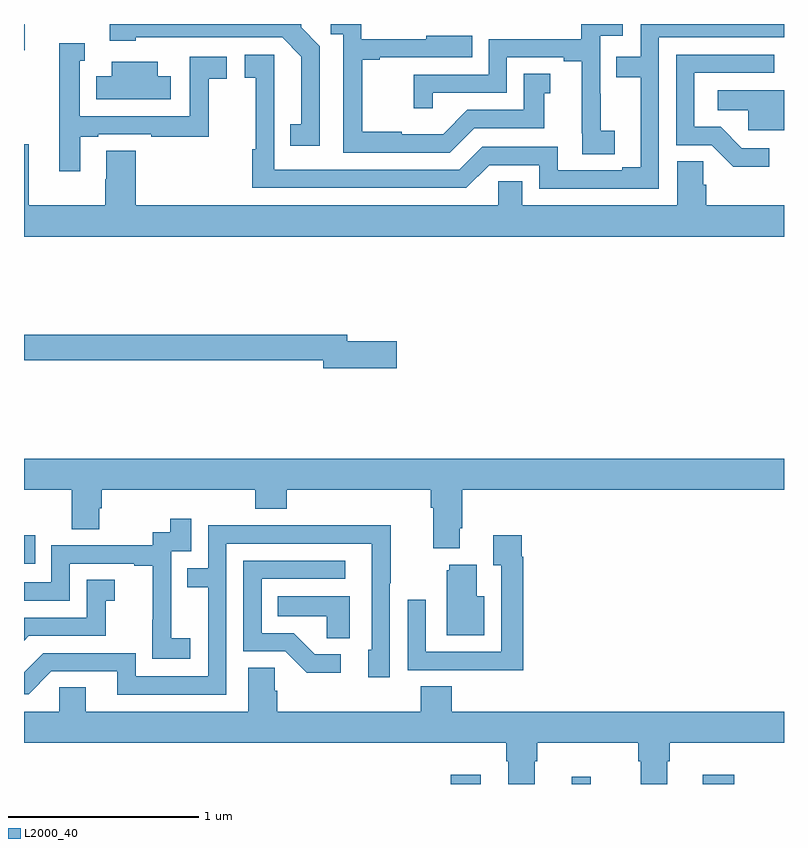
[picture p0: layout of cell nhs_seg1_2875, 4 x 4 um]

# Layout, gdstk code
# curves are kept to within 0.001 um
import gdstk
lib = gdstk.Library(unit=1e-6, precision=1e-09)
def R(c, l, rs):  # rectangles x0, y0, x1, y1
    for r in rs: c.add(gdstk.rectangle(r[:2], r[2:], *l))
def P(c, l, *ps):  # polygons
    for p in ps: c.add(gdstk.Polygon(p, *l))
L2000_40 = (2000, 40)

nhs_seg1_2875 = lib.new_cell('nhs_seg1_2875')
R(nhs_seg1_2875, L2000_40, [(269.246,534.199,269.404,534.247), (269.882,534.199,269.984,534.238), (270.572,534.199,270.738,534.247), (267,535.359,267.059,535.507), (267,538.062,267.003,538.199)])
P(nhs_seg1_2875, L2000_40, [(270.342,538.128),(271,538.128),(271,538.199),(270.246,538.199),(270.246,538.026),(270.118,538.026),(270.118,537.918),(270.245,537.918),(270.245,537.444),(270.149,537.444),(270.149,537.429),(269.808,537.429),(269.808,537.552),(269.412,537.552),(269.292,537.432),(268.317,537.432),(268.318,538.036),(268.161,538.036),(268.161,537.915),(268.219,537.915),(268.219,537.539),(268.201,537.539),(268.201,537.336),(269.328,537.336),(269.448,537.456),(269.712,537.456),(269.712,537.333),(270.342,537.333)],
  [(270.109,537.636),(270.035,537.636),(270.035,537.833),(270.033,537.833),(270.033,538.137),(270.151,538.137),(270.151,538.199),(269.932,538.199),(269.932,538.119),(269.445,538.119),(269.445,537.933),(269.05,537.933),(269.05,537.756),(269.151,537.756),(269.151,537.837),(269.541,537.837),(269.541,538.023),(269.84,538.023),(269.84,538.003),(269.936,538.003),(269.936,537.625),(269.938,537.625),(269.938,537.514),(270.109,537.514)],
  [(268.557,538.082),(268.458,538.181),(268.458,538.199),(267.452,538.199),(267.452,538.112),(267.588,538.112),(267.588,538.128),(268.359,538.128),(268.46,538.027),(268.46,537.671),(268.402,537.671),(268.402,537.558),(268.557,537.558)],
  [(269.37,537.651),(269.737,537.651),(269.737,537.835),(269.77,537.835),(269.77,537.938),(269.63,537.938),(269.63,537.747),(269.334,537.747),(269.206,537.619),(268.988,537.619),(268.988,537.631),(268.781,537.631),(268.781,538.011),(268.873,538.011),(268.873,538.023),(269.36,538.023),(269.36,538.138),(269.117,538.138),(269.117,538.119),(268.776,538.119),(268.776,538.199),(268.615,538.199),(268.615,538.145),(268.68,538.145),(268.68,537.522),(269.241,537.522)],
  [(267.295,537.606),(267.391,537.606),(267.391,537.618),(267.67,537.618),(267.67,537.606),(267.972,537.606),(267.972,537.91),(268.066,537.91),(268.066,538.026),(267.873,538.026),(267.873,537.714),(267.294,537.714),(267.294,538.005),(267.319,538.005),(267.319,538.099),(267.186,538.099),(267.186,537.667),(267.185,537.667),(267.185,537.423),(267.295,537.423)],
  [(270.922,537.546),(270.777,537.546),(270.666,537.657),(270.528,537.657),(270.528,537.942),(270.949,537.942),(270.949,538.038),(270.432,538.038),(270.432,537.561),(270.621,537.561),(270.734,537.449),(270.922,537.449)],
  [(267.772,537.925),(267.703,537.925),(267.703,538),(267.461,538),(267.461,537.925),(267.379,537.925),(267.379,537.803),(267.772,537.803)],
  [(271,537.85),(270.651,537.85),(270.651,537.746),(270.813,537.746),(270.813,537.639),(271,537.639)],
  [(271,537.244),(270.59,537.244),(270.59,537.353),(270.576,537.353),(270.576,537.476),(270.437,537.476),(270.437,537.244),(269.623,537.244),(269.623,537.371),(269.496,537.371),(269.496,537.244),(267.587,537.244),(267.587,537.533),(267.434,537.533),(267.434,537.383),(267.427,537.383),(267.427,537.244),(267.025,537.244),(267.025,537.565),(267,537.565),(267,537.08),(271,537.08)],
  [(268.963,536.528),(268.702,536.528),(268.702,536.564),(267,536.564),(267,536.428),(268.574,536.428),(268.574,536.386),(268.963,536.386)],
  [(269.293,535.546),(269.306,535.546),(269.306,535.748),(271,535.748),(271,535.912),(267,535.912),(267,535.748),(267.25,535.748),(267.25,535.54),(267.397,535.54),(267.397,535.65),(267.41,535.65),(267.41,535.748),(268.217,535.748),(268.217,535.649),(268.382,535.649),(268.382,535.748),(269.141,535.748),(269.141,535.652),(269.153,535.652),(269.153,535.439),(269.293,535.439)],
  [(267.874,534.967),(267.776,534.967),(267.776,535.196),(267.774,535.196),(267.774,535.425),(267.879,535.425),(267.879,535.594),(267.771,535.594),(267.771,535.524),(267.678,535.524),(267.678,535.455),(267.144,535.455),(267.144,535.26),(267,535.26),(267,535.164),(267.24,535.164),(267.24,535.359),(267.581,535.359),(267.581,535.347),(267.677,535.347),(267.677,535.063),(267.676,535.063),(267.676,534.857),(267.874,534.857)],
  [(268.065,535.464),(268.83,535.464),(268.83,534.906),(268.811,534.906),(268.811,534.762),(268.926,534.762),(268.926,535.255),(268.929,535.255),(268.929,535.562),(268.465,535.562),(268.465,535.56),(267.969,535.56),(267.969,535.335),(267.859,535.335),(267.859,535.234),(267.969,535.234),(267.969,534.765),(267.588,534.765),(267.588,534.888),(267.102,534.888),(267,534.786),(267,534.672),(267.024,534.672),(267.144,534.792),(267.491,534.792),(267.491,534.669),(268.065,534.669)],
  [(269.627,535.394),(269.62,535.394),(269.62,535.507),(269.471,535.507),(269.471,535.351),(269.511,535.351),(269.511,534.894),(269.115,534.894),(269.115,535.168),(269.019,535.168),(269.019,534.798),(269.335,534.798),(269.335,534.797),(269.627,534.797)],
  [(268.666,534.882),(268.531,534.882),(268.42,534.993),(268.251,534.993),(268.251,535.278),(268.69,535.278),(268.69,535.374),(268.155,535.374),(268.155,534.897),(268.374,534.897),(268.487,534.785),(268.666,534.785)],
  [(269.422,535.186),(269.383,535.186),(269.383,535.354),(269.237,535.354),(269.237,535.323),(269.225,535.323),(269.225,534.983),(269.422,534.983)],
  [(267.025,534.978),(267.429,534.978),(267.429,535.163),(267.478,535.163),(267.478,535.273),(267.33,535.273),(267.33,535.074),(267,535.074),(267,534.953)],
  [(268.714,535.186),(268.336,535.186),(268.336,535.082),(268.593,535.082),(268.593,534.967),(268.714,534.967)],
  [(269.689,534.32),(269.702,534.32),(269.702,534.416),(270.233,534.416),(270.233,534.32),(270.245,534.32),(270.245,534.199),(270.385,534.199),(270.385,534.32),(270.398,534.32),(270.398,534.416),(271,534.416),(271,534.58),(269.252,534.58),(269.252,534.713),(269.087,534.713),(269.087,534.58),(268.334,534.58),(268.334,534.689),(268.32,534.689),(268.32,534.812),(268.181,534.812),(268.181,534.58),(267.325,534.58),(267.325,534.707),(267.186,534.707),(267.186,534.58),(267,534.58),(267,534.416),(269.537,534.416),(269.537,534.32),(269.549,534.32),(269.549,534.199),(269.689,534.199)])

lib.write_gds('nhs_seg1_2875.gds')
